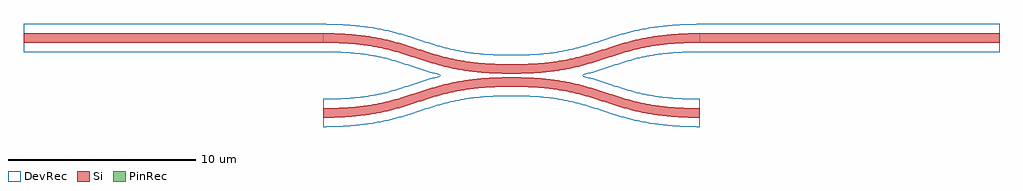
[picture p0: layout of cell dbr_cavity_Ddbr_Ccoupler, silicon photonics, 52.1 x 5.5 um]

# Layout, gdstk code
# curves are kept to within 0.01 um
from math import pi, radians
import gdstk
lib = gdstk.Library(unit=1e-6, precision=1e-09)
def R(c, l, rs):  # rectangles x0, y0, x1, y1
    for r in rs: c.add(gdstk.rectangle(r[:2], r[2:], *l))
def P(c, l, *ps):  # polygons
    for p in ps: c.add(gdstk.Polygon(p, *l))
Si = (1, 0)
PinRec = (1, 10)
DevRec = (68, 0)

coupler_l0p1_g0p2 = lib.new_cell('coupler_L0p1_G0p2')
P(coupler_l0p1_g0p2, Si, [(-10,-1.9),(-10,-1.4),(-9.281,-1.388),(-8.633,-1.353),(-8.048,-1.298),(-7.319,-1.192),(-6.761,-1.079),(-6.25,-0.951),(-5.692,-0.787),(-4.215,-0.312),(-3.621,-0.148),(-3.162,-0.042),(-2.561,0.069),(-1.892,0.157),(-1.275,0.21),(-0.595,0.242),(0.403,0.248),(1.111,0.226),(1.874,0.169),(2.661,0.069),(3.262,-0.042),(3.982,-0.217),(4.557,-0.386),(6.027,-0.859),(6.6,-1.017),(7.133,-1.138),(7.824,-1.256),(8.492,-1.333),(9.381,-1.388),(10.1,-1.4),(10.1,-1.9),(9.089,-1.876),(8.208,-1.807),(7.332,-1.684),(6.479,-1.502),(5.723,-1.289),(3.932,-0.722),(3.427,-0.591),(2.781,-0.458),(2.052,-0.352),(1.342,-0.289),(0.54,-0.254),(-0.44,-0.254),(-1.115,-0.281),(-1.839,-0.34),(-2.38,-0.409),(-3.059,-0.531),(-3.5,-0.633),(-4.073,-0.791),(-6.033,-1.41),(-6.65,-1.567),(-7.335,-1.702),(-7.877,-1.781),(-8.596,-1.851),(-9.405,-1.892)],
  [(0,0.45),(-0.595,0.458),(-1.404,0.499),(-2.123,0.569),(-2.665,0.648),(-3.35,0.783),(-3.967,0.94),(-5.927,1.559),(-6.5,1.717),(-7.033,1.838),(-7.724,1.956),(-8.392,2.033),(-9.281,2.088),(-10,2.1),(-10,2.6),(-9.405,2.592),(-8.596,2.551),(-7.877,2.481),(-7.335,2.402),(-6.65,2.267),(-6.033,2.11),(-4.073,1.491),(-3.5,1.333),(-2.967,1.212),(-2.276,1.094),(-1.608,1.017),(-0.719,0.962),(0,0.95),(0.819,0.962),(1.467,0.997),(2.052,1.052),(2.683,1.141),(3.25,1.251),(3.85,1.399),(6.049,2.086),(6.568,2.224),(7.034,2.328),(7.754,2.451),(8.447,2.531),(9.225,2.582),(10.1,2.6),(10.1,2.1),(9.381,2.088),(8.492,2.033),(7.824,1.956),(7.133,1.838),(6.6,1.717),(6.027,1.559),(4.557,1.086),(3.982,0.917),(3.262,0.742),(2.661,0.631),(1.992,0.543),(1.375,0.49),(0.695,0.458)])
P(coupler_l0p1_g0p2, DevRec, [(-10,-2.4),(-10,-0.9),(-9.168,-0.883),(-8.437,-0.835),(-7.794,-0.761),(-7.132,-0.648),(-6.225,-0.425),(-4.442,0.142),(-3.689,0.35),(-4.442,0.558),(-6.225,1.125),(-7.132,1.348),(-7.794,1.461),(-8.437,1.535),(-9.168,1.583),(-10,1.6),(-10,3.1),(-9.246,3.087),(-8.56,3.05),(-7.815,2.977),(-7.252,2.895),(-6.636,2.776),(-5.986,2.615),(-5.313,2.416),(-3.775,1.925),(-2.868,1.702),(-2.206,1.589),(-1.563,1.515),(-0.832,1.467),(-0.146,1.45),(0.53,1.454),(1.186,1.48),(1.886,1.537),(2.504,1.619),(3.143,1.739),(3.718,1.881),(5.912,2.567),(6.357,2.687),(7.037,2.838),(7.798,2.962),(8.53,3.04),(9.203,3.082),(10.1,3.1),(10.1,1.6),(9.268,1.583),(8.537,1.535),(7.894,1.461),(7.232,1.348),(6.325,1.125),(4.542,0.558),(3.789,0.35),(4.542,0.142),(6.325,-0.425),(7.232,-0.648),(7.894,-0.761),(8.537,-0.835),(9.268,-0.883),(10.1,-0.9),(10.1,-2.4),(9.346,-2.387),(8.66,-2.35),(7.915,-2.277),(7.352,-2.195),(6.736,-2.076),(6.086,-1.915),(5.413,-1.716),(3.875,-1.225),(2.968,-1.002),(2.306,-0.889),(1.663,-0.815),(0.932,-0.767),(0.246,-0.75),(-0.43,-0.754),(-1.086,-0.78),(-1.786,-0.837),(-2.404,-0.919),(-3.043,-1.039),(-3.618,-1.181),(-5.812,-1.867),(-6.257,-1.987),(-6.937,-2.138),(-7.698,-2.262),(-8.43,-2.34),(-9.103,-2.382)])

straight_l0p07940573770_ = lib.new_cell('straight_L0p07940573770_91415610')
R(straight_l0p07940573770_, Si, [(0,-0.25,0.079,0.25)])
R(straight_l0p07940573770_, DevRec, [(0,-0.75,0.079,0.75)])

straight_l0p01_n2_csxs_3 = lib.new_cell('straight_L0p01_N2_CSxs_38f6dd83')
R(straight_l0p01_n2_csxs_3, Si, [(0,-0.25,0.01,0.25)])
R(straight_l0p01_n2_csxs_3, DevRec, [(0,-0.75,0.01,0.75)])

straight_l0p079_n2_csxs_ = lib.new_cell('straight_L0p079_N2_CSxs_38f6dd83')
R(straight_l0p079_n2_csxs_, Si, [(0,-0.25,0.079,0.25)])
R(straight_l0p079_n2_csxs_, DevRec, [(0,-0.75,0.079,0.75)])

dbr_cell_w0p45_w0p55_l0_ = lib.new_cell('dbr_cell_W0p45_W0p55_L0_f370c3d3')
dbr_cell_w0p45_w0p55_l0_.add(gdstk.Reference(straight_l0p079_n2_csxs_, (0,0)))
dbr_cell_w0p45_w0p55_l0_.add(gdstk.Reference(straight_l0p079_n2_csxs_, (0.079,0)))

dbr_w0p45_w0p55_l0p0794_ = lib.new_cell('dbr_W0p45_W0p55_L0p0794_b131916e')
dbr_w0p45_w0p55_l0p0794_.add(gdstk.Reference(straight_l0p01_n2_csxs_3, (0,0), rotation=pi))
dbr_w0p45_w0p55_l0p0794_.add(gdstk.Reference(straight_l0p01_n2_csxs_3, (15.899,0)))
r = gdstk.Reference(dbr_cell_w0p45_w0p55_l0_, (0,0)); r.repetition = gdstk.Repetition(100, 1, v1=(0.159,0), v2=(0,0)); dbr_w0p45_w0p55_l0p0794_.add(r)

unnamed_45 = lib.new_cell('Unnamed_45')
unnamed_45.add(gdstk.Reference(straight_l0p07940573770_, (-0.089,0)))
unnamed_45.add(gdstk.Reference(dbr_w0p45_w0p55_l0p0794_, (0,0)))

dbr_w0p5_d0p1_n100_l0p0_ = lib.new_cell('dbr_W0p5_D0p1_N100_L0p0_c9156e45')
R(dbr_w0p5_d0p1_n100_l0p0_, DevRec, [(-0.089,-0.75,15.909,0.75)])
dbr_w0p5_d0p1_n100_l0p0_.add(gdstk.FlexPath([(-0.084,0),(-0.094,0)], 0.5, ends="flush", simple_path=True, layer=1, datatype=10))  # PinRec
dbr_w0p5_d0p1_n100_l0p0_.add(gdstk.Reference(unnamed_45, (0,0)))
dbr_w0p5_d0p1_n100_l0p0_.add(gdstk.Label('o1', (-0.089,0), layer=1, texttype=10))

dbr_cavity_ddbr_ccoupler = lib.new_cell('dbr_cavity_Ddbr_Ccoupler')
dbr_cavity_ddbr_ccoupler.add(gdstk.Reference(coupler_l0p1_g0p2, (0,0)))
dbr_cavity_ddbr_ccoupler.add(gdstk.Reference(dbr_w0p5_d0p1_n100_l0p0_, (-10.089,2.35), rotation=pi))
dbr_cavity_ddbr_ccoupler.add(gdstk.Reference(dbr_w0p5_d0p1_n100_l0p0_, (10.189,2.35)))

lib.write_gds('dbr_cavity_Ddbr_Ccoupler.gds')
